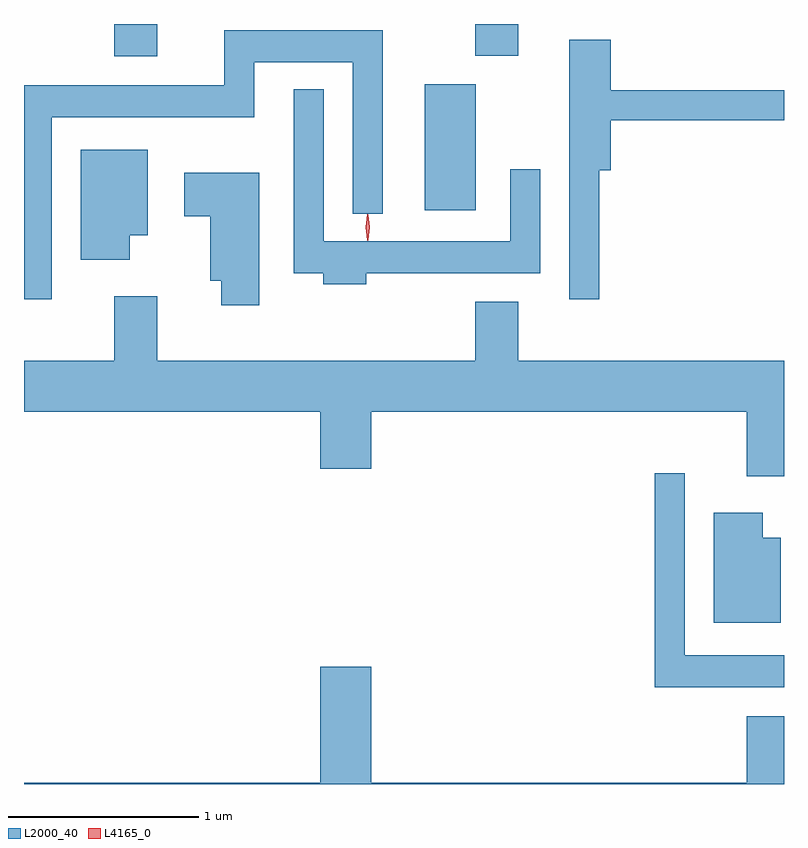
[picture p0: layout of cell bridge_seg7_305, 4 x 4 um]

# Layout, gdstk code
import gdstk
lib = gdstk.Library(unit=1e-6, precision=1e-09)
def R(c, l, rs):  # rectangles x0, y0, x1, y1
    for r in rs: c.add(gdstk.rectangle(r[:2], r[2:], *l))
def P(c, l, *ps):  # polygons
    for p in ps: c.add(gdstk.Polygon(p, *l))
L2000_40 = (2000, 40)
L4165_0 = (4165, 0)

bridge_seg7_305 = lib.new_cell('bridge_seg7_305')
R(bridge_seg7_305, L2000_40, [(1154.686,1766.436,1154.954,1767.099), (1153.051,1767.246,1153.279,1767.417), (1154.951,1767.251,1155.179,1767.417)])
P(bridge_seg7_305, L2000_40, [(1152.724,1766.926),(1153.789,1766.926),(1153.789,1767.216),(1154.306,1767.216),(1154.306,1766.418),(1154.464,1766.418),(1154.464,1767.384),(1153.631,1767.384),(1153.631,1767.094),(1152.577,1767.094),(1152.577,1765.968),(1152.724,1765.968)],
  [(1155.604,1766.646),(1155.664,1766.646),(1155.664,1766.911),(1156.577,1766.911),(1156.577,1767.069),(1155.664,1767.069),(1155.664,1767.334),(1155.446,1767.334),(1155.446,1765.968),(1155.604,1765.968)],
  [(1154.379,1766.106),(1155.294,1766.106),(1155.294,1766.653),(1155.136,1766.653),(1155.136,1766.274),(1154.154,1766.274),(1154.154,1767.073),(1153.996,1767.073),(1153.996,1766.106),(1154.151,1766.106),(1154.151,1766.046),(1154.379,1766.046)],
  [(1153.134,1766.306),(1153.229,1766.306),(1153.229,1766.754),(1152.876,1766.754),(1152.876,1766.176),(1153.134,1766.176)],
  [(1153.814,1766.634),(1153.421,1766.634),(1153.421,1766.406),(1153.556,1766.406),(1153.556,1766.066),(1153.616,1766.066),(1153.616,1765.936),(1153.814,1765.936)],
  [(1156.577,1765.644),(1155.179,1765.644),(1155.179,1765.954),(1154.951,1765.954),(1154.951,1765.644),(1153.279,1765.644),(1153.279,1765.984),(1153.051,1765.984),(1153.051,1765.644),(1152.577,1765.644),(1152.577,1765.376),(1154.136,1765.376),(1154.136,1765.076),(1154.404,1765.076),(1154.404,1765.376),(1156.381,1765.376),(1156.381,1765.036),(1156.577,1765.036)],
  [(1156.577,1764.094),(1156.054,1764.094),(1156.054,1765.053),(1155.896,1765.053),(1155.896,1763.926),(1156.577,1763.926)],
  [(1156.559,1764.714),(1156.464,1764.714),(1156.464,1764.844),(1156.206,1764.844),(1156.206,1764.266),(1156.559,1764.266)],
  [(1156.577,1763.774),(1156.381,1763.774),(1156.381,1763.424),(1154.404,1763.424),(1154.404,1764.034),(1154.136,1764.034),(1154.136,1763.424),(1152.577,1763.424),(1152.577,1763.417),(1156.577,1763.417)])
P(bridge_seg7_305, L4165_0, [(1154.387,1766.28),(1154.378,1766.346),(1154.387,1766.412),(1154.388,1766.413),(1154.388,1766.412),(1154.398,1766.346),(1154.388,1766.28),(1154.388,1766.28)],
  [(1154.385,1766.277),(1154.384,1766.278),(1154.375,1766.347),(1154.384,1766.416),(1154.385,1766.416),(1154.386,1766.416),(1154.395,1766.347),(1154.386,1766.278)])

lib.write_gds('bridge_seg7_305.gds')
